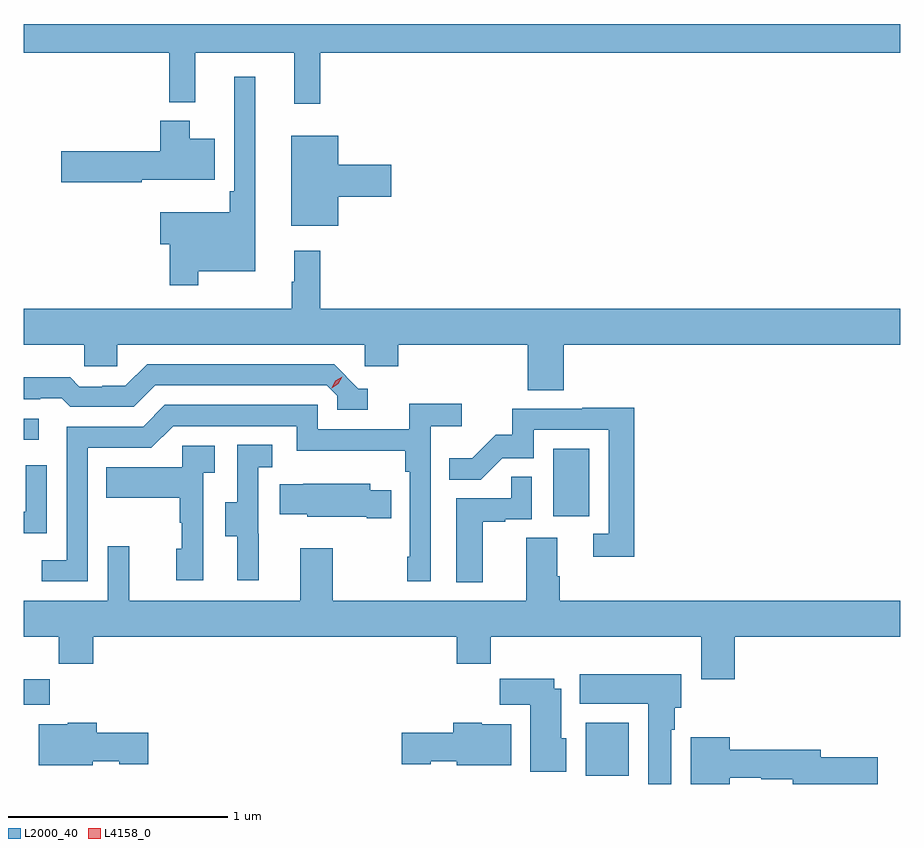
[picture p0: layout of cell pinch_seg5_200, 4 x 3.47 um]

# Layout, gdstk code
import gdstk
lib = gdstk.Library(unit=1e-6, precision=1e-09)
def R(c, l, rs):  # rectangles x0, y0, x1, y1
    for r in rs: c.add(gdstk.rectangle(r[:2], r[2:], *l))
def P(c, l, *ps):  # polygons
    for p in ps: c.add(gdstk.Polygon(p, *l))
L2000_40 = (2000, 40)
L4158_0 = (4158, 0)

pinch_seg5_200 = lib.new_cell('pinch_seg5_200')
R(pinch_seg5_200, L2000_40, [(1000.229,912.068,1000.426,912.31), (997.665,912.392,997.784,912.51), (1000.082,913.254,1000.246,913.561), (997.665,913.602,997.732,913.698)])
P(pinch_seg5_200, L2000_40, [(999.017,915.368),(1001.665,915.368),(1001.665,915.5),(997.665,915.5),(997.665,915.368),(998.329,915.368),(998.329,915.143),(998.447,915.143),(998.447,915.368),(998.9,915.368),(998.9,915.135),(999.017,915.135)],
  [(998.461,914.372),(998.722,914.372),(998.722,915.259),(998.625,915.259),(998.625,914.737),(998.605,914.737),(998.605,914.641),(998.288,914.641),(998.288,914.494),(998.332,914.494),(998.332,914.307),(998.461,914.307)],
  [(998.204,914.789),(998.536,914.789),(998.536,914.977),(998.422,914.977),(998.422,915.058),(998.288,915.058),(998.288,914.919),(997.836,914.919),(997.836,914.777),(998.204,914.777)],
  [(999.1,914.711),(999.343,914.711),(999.343,914.858),(999.1,914.858),(999.1,914.989),(998.885,914.989),(998.885,914.579),(999.1,914.579)],
  [(1000.13,914.036),(1001.665,914.036),(1001.665,914.2),(999.017,914.2),(999.017,914.464),(998.9,914.464),(998.9,914.324),(998.889,914.324),(998.889,914.2),(997.665,914.2),(997.665,914.036),(997.941,914.036),(997.941,913.938),(998.091,913.938),(998.091,914.036),(999.222,914.036),(999.222,913.938),(999.374,913.938),(999.374,914.036),(999.965,914.036),(999.965,913.828),(1000.13,913.828)],
  [(999.235,913.836),(999.192,913.836),(999.081,913.947),(998.228,913.947),(998.129,913.848),(998.022,913.848),(998.022,913.845),(997.919,913.845),(997.877,913.888),(997.665,913.888),(997.665,913.788),(997.739,913.788),(997.739,913.791),(997.838,913.791),(997.877,913.752),(998.166,913.752),(998.265,913.851),(999.048,913.851),(999.096,913.803),(999.096,913.74),(999.235,913.74)],
  [(997.956,913.566),(998.247,913.566),(998.346,913.665),(998.91,913.665),(998.91,913.553),(999.406,913.553),(999.406,913.457),(999.426,913.457),(999.426,913.069),(999.414,913.069),(999.414,912.957),(999.522,912.957),(999.522,913.664),(999.664,913.664),(999.664,913.766),(999.425,913.766),(999.425,913.65),(999.006,913.65),(999.006,913.761),(998.309,913.761),(998.21,913.662),(997.86,913.662),(997.86,913.053),(997.747,913.053),(997.747,912.957),(997.956,912.957)],
  [(1000.451,913.748),(1000.213,913.748),(1000.213,913.743),(999.895,913.743),(999.895,913.626),(999.818,913.626),(999.711,913.519),(999.607,913.519),(999.607,913.42),(999.75,913.42),(999.848,913.518),(999.993,913.518),(999.993,913.647),(1000.335,913.647),(1000.335,913.173),(1000.263,913.173),(1000.263,913.068),(1000.451,913.068)],
  [(998.738,913.173),(998.736,913.173),(998.736,913.477),(998.8,913.477),(998.8,913.58),(998.64,913.58),(998.64,913.317),(998.585,913.317),(998.585,913.162),(998.639,913.162),(998.639,912.96),(998.738,912.96)],
  [(998.484,913.451),(998.536,913.451),(998.536,913.575),(998.388,913.575),(998.388,913.477),(998.041,913.477),(998.041,913.337),(998.376,913.337),(998.376,913.223),(998.386,913.223),(998.386,913.104),(998.36,913.104),(998.36,912.96),(998.484,912.96)],
  [(997.77,913.486),(997.674,913.486),(997.674,913.274),(997.665,913.274),(997.665,913.176),(997.77,913.176)],
  [(999.76,913.227),(999.863,913.227),(999.863,913.239),(999.984,913.239),(999.984,913.433),(999.889,913.433),(999.889,913.335),(999.638,913.335),(999.638,912.953),(999.76,912.953)],
  [(999.341,913.372),(999.247,913.372),(999.247,913.402),(998.941,913.402),(998.941,913.399),(998.833,913.399),(998.833,913.262),(998.958,913.262),(998.958,913.25),(999.23,913.25),(999.23,913.243),(999.341,913.243)],
  [(1000.91,912.704),(1001.665,912.704),(1001.665,912.868),(1000.112,912.868),(1000.112,912.98),(1000.099,912.98),(1000.099,913.154),(999.959,913.154),(999.959,912.868),(999.075,912.868),(999.075,913.108),(998.927,913.108),(998.927,912.868),(998.147,912.868),(998.147,913.117),(998.049,913.117),(998.049,912.868),(997.665,912.868),(997.665,912.704),(997.825,912.704),(997.825,912.58),(997.982,912.58),(997.982,912.704),(999.641,912.704),(999.641,912.58),(999.797,912.58),(999.797,912.704),(1000.757,912.704),(1000.757,912.51),(1000.91,912.51)],
  [(1000.621,912.278),(1000.636,912.278),(1000.636,912.378),(1000.666,912.378),(1000.666,912.532),(1000.202,912.532),(1000.202,912.398),(1000.514,912.398),(1000.514,912.031),(1000.621,912.031)],
  [(1000.141,912.24),(1000.117,912.24),(1000.117,912.466),(1000.087,912.466),(1000.087,912.511),(999.838,912.511),(999.838,912.392),(999.977,912.392),(999.977,912.086),(1000.141,912.086)],
  [(999.889,912.304),(999.756,912.304),(999.756,912.31),(999.626,912.31),(999.626,912.264),(999.39,912.264),(999.39,912.122),(999.522,912.122),(999.522,912.134),(999.642,912.134),(999.642,912.116),(999.889,912.116)],
  [(997.98,912.134),(998.1,912.134),(998.1,912.122),(998.233,912.122),(998.233,912.264),(997.997,912.264),(997.997,912.31),(997.866,912.31),(997.866,912.304),(997.733,912.304),(997.733,912.116),(997.98,912.116)],
  [(1000.888,912.06),(1001.031,912.06),(1001.031,912.052),(1001.174,912.052),(1001.174,912.031),(1001.563,912.031),(1001.563,912.152),(1001.302,912.152),(1001.302,912.188),(1000.888,912.188),(1000.888,912.244),(1000.709,912.244),(1000.709,912.031),(1000.888,912.031)])
P(pinch_seg5_200, L4158_0, [(999.07,913.838),(999.07,913.839),(999.087,913.871),(999.118,913.89),(999.118,913.89),(999.118,913.89),(999.101,913.858),(999.07,913.838)])

lib.write_gds('pinch_seg5_200.gds')
